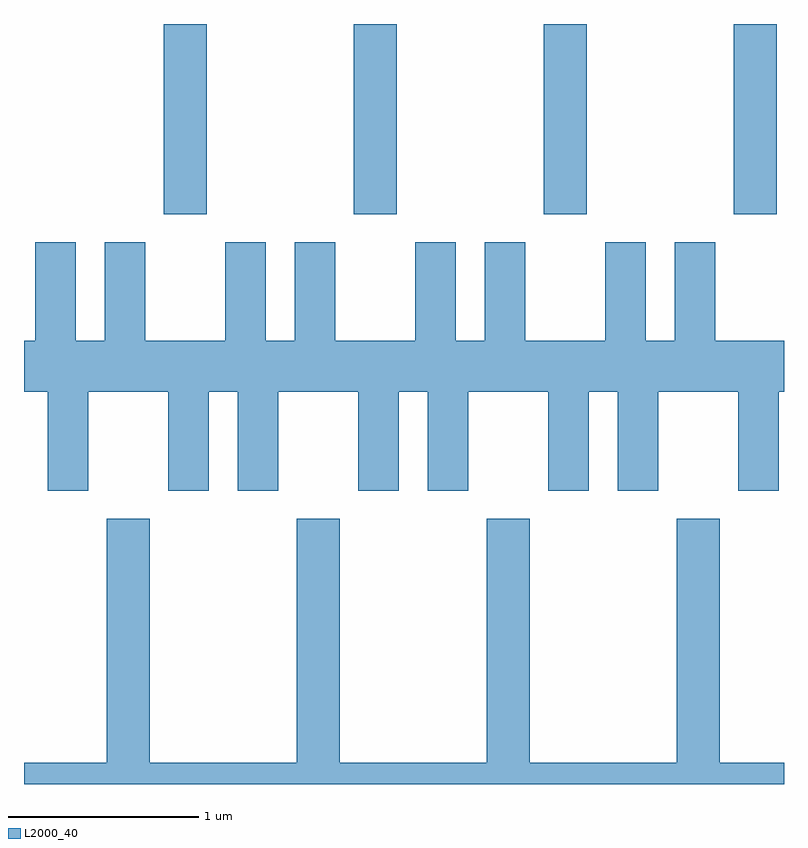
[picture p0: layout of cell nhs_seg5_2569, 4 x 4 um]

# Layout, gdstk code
import gdstk
lib = gdstk.Library(unit=1e-6, precision=1e-09)
def R(c, l, rs):  # rectangles x0, y0, x1, y1
    for r in rs: c.add(gdstk.rectangle(r[:2], r[2:], *l))
def A(c, l, x, y, w, h, nx, ny, dx, dy):  # array of equal rectangles
    R(c, l, [(x+i*dx, y+j*dy, x+i*dx+w, y+j*dy+h) for i in range(nx) for j in range(ny)])
def P(c, l, *ps):  # polygons
    for p in ps: c.add(gdstk.Polygon(p, *l))
L2000_40 = (2000, 40)

nhs_seg5_2569 = lib.new_cell('nhs_seg5_2569')
A(nhs_seg5_2569, L2000_40, 262.346, 1451.071, 0.228, 1.001, 4, 1, 1, 0)
P(nhs_seg5_2569, L2000_40, [(263.949,1450.136),(264.371,1450.136),(264.371,1449.616),(264.584,1449.616),(264.584,1450.136),(264.736,1450.136),(264.736,1449.616),(264.949,1449.616),(264.949,1450.136),(265.371,1450.136),(265.371,1449.616),(265.584,1449.616),(265.584,1450.136),(265.611,1450.136),(265.611,1450.404),(265.249,1450.404),(265.249,1450.924),(265.036,1450.924),(265.036,1450.404),(264.884,1450.404),(264.884,1450.924),(264.671,1450.924),(264.671,1450.404),(264.249,1450.404),(264.249,1450.924),(264.036,1450.924),(264.036,1450.404),(263.884,1450.404),(263.884,1450.924),(263.671,1450.924),(263.671,1450.404),(263.249,1450.404),(263.249,1450.924),(263.036,1450.924),(263.036,1450.404),(262.884,1450.404),(262.884,1450.924),(262.671,1450.924),(262.671,1450.404),(262.249,1450.404),(262.249,1450.924),(262.036,1450.924),(262.036,1450.404),(261.884,1450.404),(261.884,1450.924),(261.671,1450.924),(261.671,1450.404),(261.611,1450.404),(261.611,1450.136),(261.736,1450.136),(261.736,1449.616),(261.949,1449.616),(261.949,1450.136),(262.371,1450.136),(262.371,1449.616),(262.584,1449.616),(262.584,1450.136),(262.736,1450.136),(262.736,1449.616),(262.949,1449.616),(262.949,1450.136),(263.371,1450.136),(263.371,1449.616),(263.584,1449.616),(263.584,1450.136),(263.736,1450.136),(263.736,1449.616),(263.949,1449.616)],
  [(265.611,1448.184),(265.274,1448.184),(265.274,1449.469),(265.046,1449.469),(265.046,1448.184),(264.274,1448.184),(264.274,1449.469),(264.046,1449.469),(264.046,1448.184),(263.274,1448.184),(263.274,1449.469),(263.046,1449.469),(263.046,1448.184),(262.274,1448.184),(262.274,1449.469),(262.046,1449.469),(262.046,1448.184),(261.611,1448.184),(261.611,1448.072),(265.611,1448.072)])

lib.write_gds('nhs_seg5_2569.gds')
